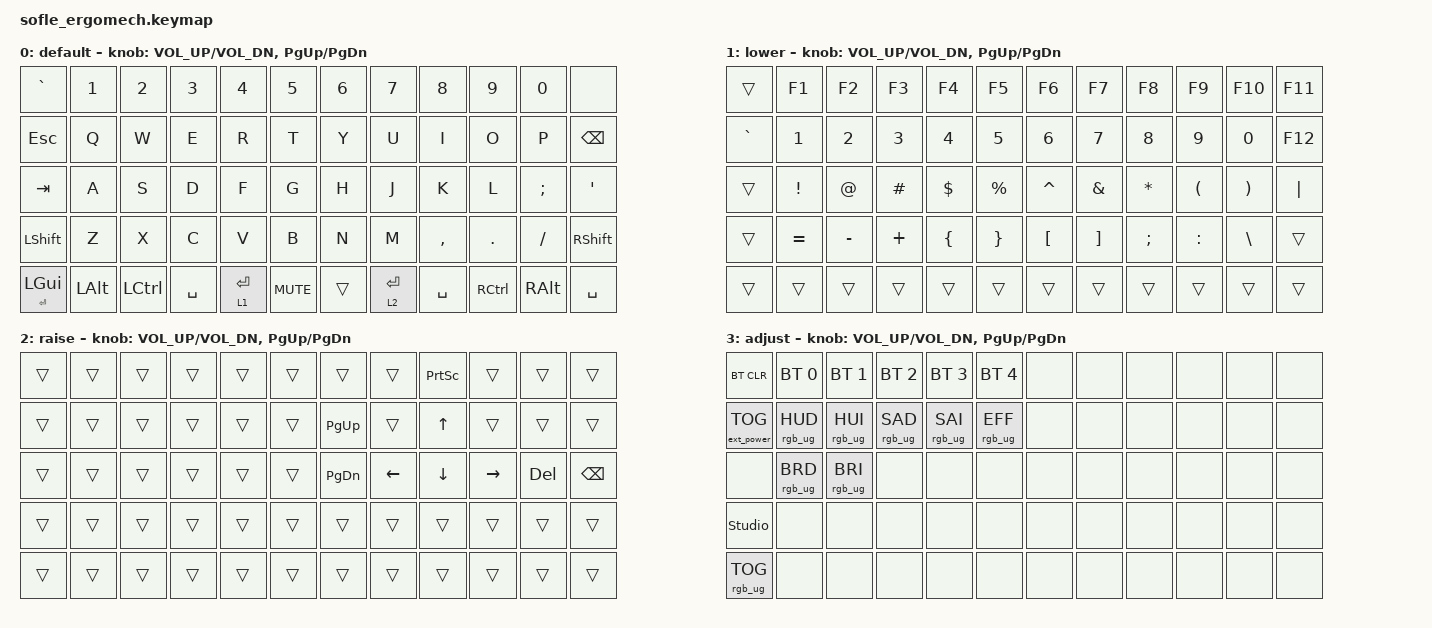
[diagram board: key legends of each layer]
/*
 * Copyright (c) 2020 The ZMK Contributors
 *
 * SPDX-License-Identifier: MIT
 */

#include <behaviors.dtsi>
#include <dt-bindings/zmk/bt.h>
#include <dt-bindings/zmk/ext_power.h>
#include <dt-bindings/zmk/keys.h>
#include <dt-bindings/zmk/rgb.h>

#define BASE 0
#define LOWER 1
#define RAISE 2
#define ADJUST 3

/ {
    // Activate ADJUST layer by pressing raise and lower

    conditional_layers {
        compatible = "zmk,conditional-layers";

        adjust_layer {
            if-layers = <1 2>;
            then-layer = <3>;
        };
    };

    macros {
        HellBomb: HellBomb {
            compatible = "zmk,behavior-macro";
            #binding-cells = <0>;
            bindings = <&kp UP_ARROW &kp RIGHT &kp DOWN_ARROW &kp DOWN_ARROW &kp DOWN_ARROW>;
            label = "HELLBOMB";
        };
    };

    keymap {
        compatible = "zmk,keymap";

        default_layer {
            label = "default";

            // ------------------------------------------------------------------------------------------------------------
            // |   `   |  1  |  2  |  3   |  4   |  5   |                   |  6   |  7    |  8    |  9   |   0   |       |
            // |  ESC  |  Q  |  W  |  E   |  R   |  T   |                   |  Y   |  U    |  I    |  O   |   P   | BKSPC |
            // |  TAB  |  A  |  S  |  D   |  F   |  G   |                   |  H   |  J    |  K    |  L   |   ;   |   '   |
            // | SHIFT |  Z  |  X  |  C   |  V   |  B   |  | MUTE |  | GUI| |  N   |  M    |  ,    |  .   |   /   | SHIFT |
            //               |ENTER| GUI  | ALT  | CTRL | LOWER|     | RAISE|SPACE | CTRL  | ALT   |SPACE |

            bindings = <
&kp GRAVE         &kp N1    &kp N2     &kp N3     &kp N4       &kp N5      &kp N6  &kp N7       &kp N8     &kp N9     &kp N0    &none
&kp ESC           &kp Q     &kp W      &kp E      &kp R        &kp T       &kp Y   &kp U        &kp I      &kp O      &kp P     &kp BSPC
&kp TAB           &kp A     &kp S      &kp D      &kp F        &kp G       &kp H   &kp J        &kp K      &kp L      &kp SEMI  &kp SQT
&kp LSHFT         &kp Z     &kp X      &kp C      &kp V        &kp B       &kp N   &kp M        &kp COMMA  &kp DOT    &kp FSLH  &kp RSHFT
&mt RET LEFT_GUI  &kp LALT  &kp LCTRL  &kp SPACE  &lt 1 ENTER  &kp C_MUTE  &trans  &lt 2 ENTER  &kp SPACE  &kp RCTRL  &kp RALT  &kp SPACE
            >;

            sensor-bindings =
                <&inc_dec_kp C_VOLUME_UP C_VOL_DN>,
                <&inc_dec_kp PG_UP PG_DN>;
        };

        lower_layer {
            label = "lower";

            // TODO: Some binds are waiting for shifted keycode support.
            // ------------------------------------------------------------------------------------------------------------
            // |       |  F1 |  F2 |  F3  |  F4  |  F5  |                   |  F6  |  F7   |  F8   |  F9  |  F10  |  F11  |
            // |   `   |  1  |  2  |  3   |  4   |  5   |                   |  6   |  7    |  8    |  9   |   0   |  F12  |
            // |       |  !  |  @  |  #   |  $   |  %   |                   |  ^   |  &    |  *    |  (   |   )   |   |   |
            // |       |  =  |  -  |  +   |  {   |  }   |        |  |       |  [   |  ]    |  ;    |  :   |   \   |       |
            //               |     |      |      |      |        |  |       |      |       |       |      |

            bindings = <
&trans     &kp F1     &kp F2     &kp F3    &kp F4    &kp F5     &kp F6     &kp F7    &kp F8     &kp F9     &kp F10   &kp F11
&kp GRAVE  &kp N1     &kp N2     &kp N3    &kp N4    &kp N5     &kp N6     &kp N7    &kp N8     &kp N9     &kp N0    &kp F12
&trans     &kp EXCL   &kp AT     &kp HASH  &kp DLLR  &kp PRCNT  &kp CARET  &kp AMPS  &kp ASTRK  &kp LPAR   &kp RPAR  &kp PIPE
&trans     &kp EQUAL  &kp MINUS  &kp PLUS  &kp LBRC  &kp RBRC   &kp LBKT   &kp RBKT  &kp SEMI   &kp COLON  &kp BSLH  &trans
&trans     &trans     &trans     &trans    &trans    &trans     &trans     &trans    &trans     &trans     &trans    &trans
            >;

            sensor-bindings = <&inc_dec_kp C_VOL_UP C_VOL_DN &inc_dec_kp PG_UP PG_DN>;
        };

        raise_layer {
            label = "raise";

            // ------------------------------------------------------------------------------------------------------------
            // | BTCLR | BT1  | BT2  |  BT3  |  BT4  |  BT5 |                |      |      |       |      |       |       |
            // |       | INS  | PSCR | GUI   |       |      |                | PGUP |      |   ^   |      |       |       |
            // |       | ALT  | CTRL | SHIFT |       | CAPS |                | PGDN |   <- |   v   |  ->  |  DEL  | BKSPC |
            // |       | UNDO | CUT  | COPY  | PASTE |      |      |  |      |      |      |       |      |       |       |
            //                |      |       |       |      |      |  |      |      |      |       |      |

            bindings = <
&trans  &trans  &trans  &trans  &trans  &trans  &trans     &trans    &kp PRINTSCREEN  &trans     &trans   &trans
&trans  &trans  &trans  &trans  &trans  &trans  &kp PG_UP  &trans    &kp UP           &trans     &trans   &trans
&trans  &trans  &trans  &trans  &trans  &trans  &kp PG_DN  &kp LEFT  &kp DOWN         &kp RIGHT  &kp DEL  &kp BSPC
&trans  &trans  &trans  &trans  &trans  &trans  &trans     &trans    &trans           &trans     &trans   &trans
&trans  &trans  &trans  &trans  &trans  &trans  &trans     &trans    &trans           &trans     &trans   &trans
            >;

            sensor-bindings = <&inc_dec_kp C_VOL_UP C_VOL_DN &inc_dec_kp PG_UP PG_DN>;
        };

        adjust_layer {
            // ----------------------------------------------------------------------------------------------------------------------------
            // | BTCLR  |  BT1    |  BT2    |   BT3   |   BT4   |   BT5   |                  |      |      |       |      |       |       |
            // | EXTPWR | RGB_HUD | RGB_HUI | RGB_SAD | RGB_SAI | RGB_EFF |                  |      |      |       |      |       |       |
            // |        | RGB_BRD | RGB_BRI |         |         |         |                  |      |      |       |      |       |       |
            // |        |         |         |         |         |         | RGB_TOG | |      |      |      |       |      |       |       |
            //                    |         |         |         |         |         | |      |      |      |       |      |

            label = "adjust";
            bindings = <
&bt BT_CLR         &bt BT_SEL 0     &bt BT_SEL 1     &bt BT_SEL 2     &bt BT_SEL 3     &bt BT_SEL 4     &none  &none  &none  &none  &none  &none
&ext_power EP_TOG  &rgb_ug RGB_HUD  &rgb_ug RGB_HUI  &rgb_ug RGB_SAD  &rgb_ug RGB_SAI  &rgb_ug RGB_EFF  &none  &none  &none  &none  &none  &none
&none              &rgb_ug RGB_BRD  &rgb_ug RGB_BRI  &none            &none            &none            &none  &none  &none  &none  &none  &none
&studio_unlock     &none            &none            &none            &none            &none            &none  &none  &none  &none  &none  &none
&rgb_ug RGB_TOG    &none            &none            &none            &none            &none            &none  &none  &none  &none  &none  &none
            >;

            sensor-bindings = <&inc_dec_kp C_VOL_UP C_VOL_DN &inc_dec_kp PG_UP PG_DN>;
        };
    };
};
